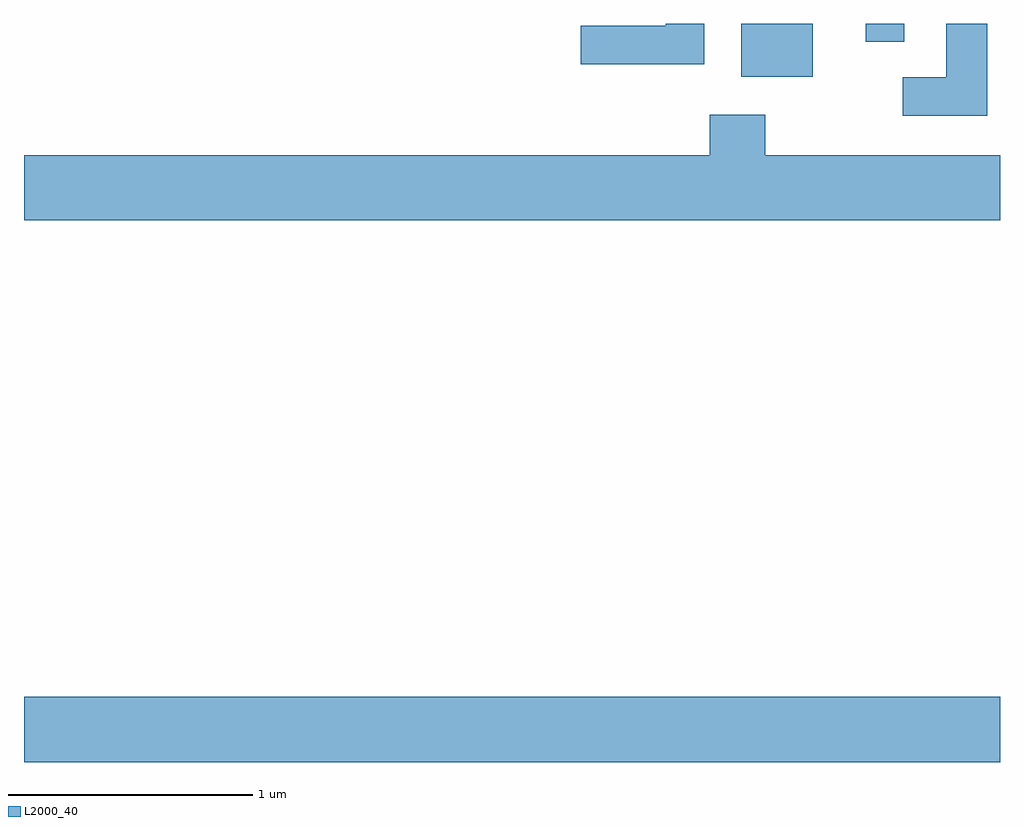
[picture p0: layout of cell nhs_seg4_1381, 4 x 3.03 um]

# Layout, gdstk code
import gdstk
lib = gdstk.Library(unit=1e-6, precision=1e-09)
def R(c, l, rs):  # rectangles x0, y0, x1, y1
    for r in rs: c.add(gdstk.rectangle(r[:2], r[2:], *l))
def P(c, l, *ps):  # polygons
    for p in ps: c.add(gdstk.Polygon(p, *l))
L2000_40 = (2000, 40)

nhs_seg4_1381 = lib.new_cell('nhs_seg4_1381')
R(nhs_seg4_1381, L2000_40, [(225.611,1296.956,229.611,1297.224), (228.551,1299.766,228.844,1299.982), (229.061,1299.908,229.219,1299.982)])
P(nhs_seg4_1381, L2000_40, [(229.559,1299.982),(229.391,1299.982),(229.391,1299.764),(229.213,1299.764),(229.213,1299.606),(229.559,1299.606)],
  [(228.399,1299.982),(228.241,1299.982),(228.241,1299.974),(227.893,1299.974),(227.893,1299.816),(228.399,1299.816)],
  [(229.611,1299.444),(228.649,1299.444),(228.649,1299.609),(228.421,1299.609),(228.421,1299.444),(225.611,1299.444),(225.611,1299.176),(229.611,1299.176)])

lib.write_gds('nhs_seg4_1381.gds')
